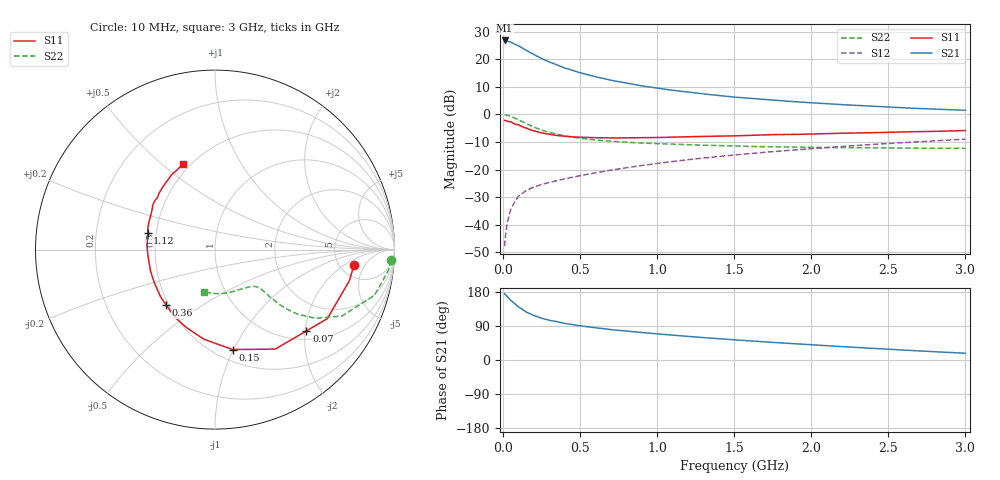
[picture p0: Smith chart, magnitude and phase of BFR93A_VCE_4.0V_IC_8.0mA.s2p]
! Infineon Technologies  Discrete & RF Semiconductors
! BFR93A
! VCE =  4.0 V,  IC =  8.0 mA
! Common Emitter S-Parameters:  Nov 2015
# GHz  S  MA  R  50
!  f  S11  S21  S12  S22
! GHz  MAG  ANG  MAG  ANG  MAG  ANG  MAG  ANG
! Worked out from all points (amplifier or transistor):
!   180 points, 10 MHz to 3 GHz, reference 50 ohm
!   highest |S21| = 26.8 dB at 10 MHz (marker M1)
!   |S21| within 3 dB of that: start of sweep to 132.2 MHz
!   unconditionally stable (mu >= 1): 633.2 MHz to 2.728 GHz
!   at 160 MHz: K = 0.44, MSG = 25.1 dB, |S12| = -27.3 dB
!   at 1.22 GHz: K = 1.10, MAG = 10.2 dB, |S12| = -16.3 dB
!   at 3 GHz: K = 0.97, MSG = 5.2 dB, |S12| = -9.0 dB
!   S11 on the Smith chart (normalised r, x): 10 MHz: 6.66, -2.97; 70 MHz: 1.20, -2.03; 150 MHz: 0.61, -0.99; 360 MHz: 0.49, -0.36; 1.12 GHz: 0.45, +0.10; 3 GHz: 0.46, +0.59
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0.01  0.7781 -6.5  21.79 175.0  0.0041 87.1  0.9819 -3.5
0.02  0.7686 -13.0  21.58 170.3  0.008 82.3  0.9736 -6.8
0.05  0.7346 -31.6  20.39 157.2  0.0188 74.9  0.9236 -16.1
0.07  0.6817 -41.6  19.01 150.9  0.0243 69.2  0.8694 -20.3
0.1  0.648 -58.8  17.45 139.7  0.0328 64.3  0.7984 -27.6
0.15  0.5655 -80.0  14.46 126.5  0.0416 58.0  0.6785 -34.4
0.2  0.5033 -97.0  12.1 117.3  0.0484 55.4  0.5867 -37.9
0.24  0.4685 -107.6  10.62 111.7  0.0527 54.3  0.533 -39.3
0.26  0.4562 -112.5  9.988 109.2  0.0547 54.1  0.5099 -39.8
0.3  0.4369 -121.1  8.88 104.8  0.0584 54.2  0.4709 -40.4
0.36  0.4114 -131.3  7.683 100.3  0.0641 55.0  0.432 -40.6
0.4  0.4023 -138.6  6.919 96.5  0.0679 55.5  0.4061 -40.7
0.52  0.3829 -153.6  5.489 89.2  0.0794 57.1  0.3635 -40.5
0.6  0.3785 -161.8  4.795 84.9  0.0872 58.0  0.3429 -40.5
0.7  0.375 -169.6  4.15 80.2  0.0977 59.0  0.3261 -40.9
0.9  0.379 176.9  3.281 72.6  0.1185 60.1  0.3018 -42.8
1.02  0.3814 170.4  2.927 68.3  0.1313 60.2  0.2934 -44.4
1.12  0.3875 165.8  2.691 64.9  0.1421 60.3  0.2862 -46.2
1.52  0.4096 149.9  2.035 52.7  0.1859 58.8  0.2659 -55.0
2.02  0.4421 134.9  1.611 39.5  0.2414 55.4  0.2523 -68.9
2.52  0.475 122.1  1.347 28.0  0.2991 50.8  0.2461 -85.6
3  0.5095 110.4  1.183 17.9  0.3553 45.4  0.2439 -105.1
